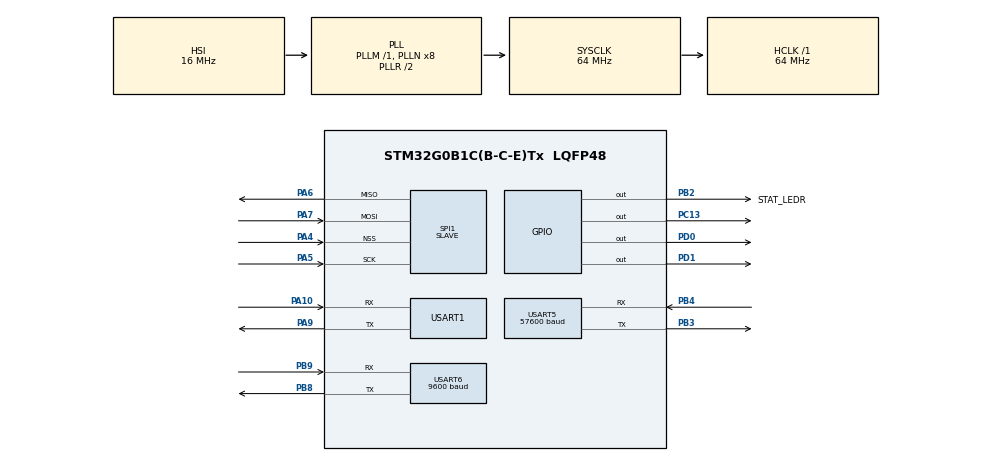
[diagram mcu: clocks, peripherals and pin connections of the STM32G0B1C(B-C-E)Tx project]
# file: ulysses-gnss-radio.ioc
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Dma.Request0=SPI1_TX
Dma.Request1=SPI1_RX
Dma.Request2=USART1_TX
Dma.Request3=USART1_RX
Dma.Request4=USART5_TX
Dma.Request5=USART5_RX
Dma.Request6=USART6_TX
Dma.Request7=USART6_RX
Dma.SPI1_RX.1.Direction=DMA_PERIPH_TO_MEMORY
Dma.SPI1_RX.1.EventEnable=DISABLE
Dma.SPI1_RX.1.Instance=DMA1_Channel2
Dma.SPI1_RX.1.MemDataAlignment=DMA_MDATAALIGN_BYTE
Dma.SPI1_RX.1.MemInc=DMA_MINC_ENABLE
Dma.SPI1_RX.1.Mode=DMA_NORMAL
Dma.SPI1_RX.1.PeriphDataAlignment=DMA_PDATAALIGN_BYTE
Dma.SPI1_RX.1.PeriphInc=DMA_PINC_DISABLE
Dma.SPI1_RX.1.Polarity=HAL_DMAMUX_REQ_GEN_RISING
Dma.SPI1_RX.1.Priority=DMA_PRIORITY_LOW
Dma.SPI1_RX.1.RequestNumber=1
Dma.SPI1_RX.1.SignalID=NONE
Dma.SPI1_RX.1.SyncEnable=DISABLE
Dma.SPI1_RX.1.SyncPolarity=HAL_DMAMUX_SYNC_NO_EVENT
Dma.SPI1_RX.1.SyncRequestNumber=1
Dma.SPI1_RX.1.SyncSignalID=NONE
Dma.SPI1_TX.0.Direction=DMA_MEMORY_TO_PERIPH
Dma.SPI1_TX.0.EventEnable=DISABLE
Dma.SPI1_TX.0.Instance=DMA1_Channel1
Dma.SPI1_TX.0.MemDataAlignment=DMA_MDATAALIGN_BYTE
Dma.SPI1_TX.0.MemInc=DMA_MINC_ENABLE
Dma.SPI1_TX.0.Mode=DMA_NORMAL
Dma.SPI1_TX.0.PeriphDataAlignment=DMA_PDATAALIGN_BYTE
Dma.SPI1_TX.0.PeriphInc=DMA_PINC_DISABLE
Dma.SPI1_TX.0.Polarity=HAL_DMAMUX_REQ_GEN_RISING
Dma.SPI1_TX.0.Priority=DMA_PRIORITY_LOW
Dma.SPI1_TX.0.RequestNumber=1
Dma.SPI1_TX.0.SignalID=NONE
Dma.SPI1_TX.0.SyncEnable=DISABLE
Dma.SPI1_TX.0.SyncPolarity=HAL_DMAMUX_SYNC_NO_EVENT
Dma.SPI1_TX.0.SyncRequestNumber=1
Dma.SPI1_TX.0.SyncSignalID=NONE
Dma.USART1_RX.3.Direction=DMA_PERIPH_TO_MEMORY
Dma.USART1_RX.3.EventEnable=DISABLE
Dma.USART1_RX.3.Instance=DMA1_Channel4
Dma.USART1_RX.3.MemDataAlignment=DMA_MDATAALIGN_BYTE
Dma.USART1_RX.3.MemInc=DMA_MINC_ENABLE
Dma.USART1_RX.3.Mode=DMA_CIRCULAR
Dma.USART1_RX.3.PeriphDataAlignment=DMA_PDATAALIGN_BYTE
Dma.USART1_RX.3.PeriphInc=DMA_PINC_DISABLE
Dma.USART1_RX.3.Polarity=HAL_DMAMUX_REQ_GEN_RISING
Dma.USART1_RX.3.Priority=DMA_PRIORITY_LOW
Dma.USART1_RX.3.RequestNumber=1
Dma.USART1_RX.3.SignalID=NONE
Dma.USART1_RX.3.SyncEnable=DISABLE
Dma.USART1_RX.3.SyncPolarity=HAL_DMAMUX_SYNC_NO_EVENT
Dma.USART1_RX.3.SyncRequestNumber=1
Dma.USART1_RX.3.SyncSignalID=NONE
Dma.USART1_TX.2.Direction=DMA_MEMORY_TO_PERIPH
Dma.USART1_TX.2.EventEnable=DISABLE
Dma.USART1_TX.2.Instance=DMA1_Channel3
Dma.USART1_TX.2.MemDataAlignment=DMA_MDATAALIGN_BYTE
Dma.USART1_TX.2.MemInc=DMA_MINC_ENABLE
Dma.USART1_TX.2.Mode=DMA_NORMAL
Dma.USART1_TX.2.PeriphDataAlignment=DMA_PDATAALIGN_BYTE
Dma.USART1_TX.2.PeriphInc=DMA_PINC_DISABLE
Dma.USART1_TX.2.Polarity=HAL_DMAMUX_REQ_GEN_RISING
Dma.USART1_TX.2.Priority=DMA_PRIORITY_LOW
Dma.USART1_TX.2.RequestNumber=1
Dma.USART1_TX.2.SignalID=NONE
Dma.USART1_TX.2.SyncEnable=DISABLE
Dma.USART1_TX.2.SyncPolarity=HAL_DMAMUX_SYNC_NO_EVENT
Dma.USART1_TX.2.SyncRequestNumber=1
Dma.USART1_TX.2.SyncSignalID=NONE
Dma.USART5_RX.5.Direction=DMA_PERIPH_TO_MEMORY
Dma.USART5_RX.5.EventEnable=DISABLE
Dma.USART5_RX.5.Instance=DMA1_Channel6
Dma.USART5_RX.5.MemDataAlignment=DMA_MDATAALIGN_BYTE
Dma.USART5_RX.5.MemInc=DMA_MINC_ENABLE
Dma.USART5_RX.5.Mode=DMA_CIRCULAR
Dma.USART5_RX.5.PeriphDataAlignment=DMA_PDATAALIGN_BYTE
Dma.USART5_RX.5.PeriphInc=DMA_PINC_DISABLE
Dma.USART5_RX.5.Polarity=HAL_DMAMUX_REQ_GEN_RISING
Dma.USART5_RX.5.Priority=DMA_PRIORITY_LOW
Dma.USART5_RX.5.RequestNumber=1
Dma.USART5_RX.5.SignalID=NONE
Dma.USART5_RX.5.SyncEnable=DISABLE
Dma.USART5_RX.5.SyncPolarity=HAL_DMAMUX_SYNC_NO_EVENT
Dma.USART5_RX.5.SyncRequestNumber=1
Dma.USART5_RX.5.SyncSignalID=NONE
Dma.USART5_TX.4.Direction=DMA_MEMORY_TO_PERIPH
Dma.USART5_TX.4.EventEnable=DISABLE
Dma.USART5_TX.4.Instance=DMA1_Channel5
Dma.USART5_TX.4.MemDataAlignment=DMA_MDATAALIGN_BYTE
Dma.USART5_TX.4.MemInc=DMA_MINC_ENABLE
Dma.USART5_TX.4.Mode=DMA_NORMAL
Dma.USART5_TX.4.PeriphDataAlignment=DMA_PDATAALIGN_BYTE
Dma.USART5_TX.4.PeriphInc=DMA_PINC_DISABLE
Dma.USART5_TX.4.Polarity=HAL_DMAMUX_REQ_GEN_RISING
Dma.USART5_TX.4.Priority=DMA_PRIORITY_LOW
Dma.USART5_TX.4.RequestNumber=1
Dma.USART5_TX.4.SignalID=NONE
Dma.USART5_TX.4.SyncEnable=DISABLE
Dma.USART5_TX.4.SyncPolarity=HAL_DMAMUX_SYNC_NO_EVENT
Dma.USART5_TX.4.SyncRequestNumber=1
Dma.USART5_TX.4.SyncSignalID=NONE
Dma.USART6_RX.7.Direction=DMA_PERIPH_TO_MEMORY
Dma.USART6_RX.7.EventEnable=DISABLE
Dma.USART6_RX.7.Instance=DMA2_Channel1
Dma.USART6_RX.7.MemDataAlignment=DMA_MDATAALIGN_BYTE
Dma.USART6_RX.7.MemInc=DMA_MINC_ENABLE
Dma.USART6_RX.7.Mode=DMA_CIRCULAR
Dma.USART6_RX.7.PeriphDataAlignment=DMA_PDATAALIGN_BYTE
Dma.USART6_RX.7.PeriphInc=DMA_PINC_DISABLE
Dma.USART6_RX.7.Polarity=HAL_DMAMUX_REQ_GEN_RISING
Dma.USART6_RX.7.Priority=DMA_PRIORITY_LOW
Dma.USART6_RX.7.RequestNumber=1
Dma.USART6_RX.7.SignalID=NONE
Dma.USART6_RX.7.SyncEnable=DISABLE
Dma.USART6_RX.7.SyncPolarity=HAL_DMAMUX_SYNC_NO_EVENT
Dma.USART6_RX.7.SyncRequestNumber=1
Dma.USART6_RX.7.SyncSignalID=NONE
Dma.USART6_TX.6.Direction=DMA_MEMORY_TO_PERIPH
Dma.USART6_TX.6.EventEnable=DISABLE
Dma.USART6_TX.6.Instance=DMA1_Channel7
Dma.USART6_TX.6.MemDataAlignment=DMA_MDATAALIGN_BYTE
Dma.USART6_TX.6.MemInc=DMA_MINC_ENABLE
Dma.USART6_TX.6.Mode=DMA_NORMAL
Dma.USART6_TX.6.PeriphDataAlignment=DMA_PDATAALIGN_BYTE
Dma.USART6_TX.6.PeriphInc=DMA_PINC_DISABLE
Dma.USART6_TX.6.Polarity=HAL_DMAMUX_REQ_GEN_RISING
Dma.USART6_TX.6.Priority=DMA_PRIORITY_LOW
Dma.USART6_TX.6.RequestNumber=1
Dma.USART6_TX.6.SignalID=NONE
Dma.USART6_TX.6.SyncEnable=DISABLE
Dma.USART6_TX.6.SyncPolarity=HAL_DMAMUX_SYNC_NO_EVENT
Dma.USART6_TX.6.SyncRequestNumber=1
Dma.USART6_TX.6.SyncSignalID=NONE
Mcu.Family=STM32G0
Mcu.Name=STM32G0B1C(B-C-E)Tx
Mcu.Package=LQFP48
NVIC.DMA1_Ch4_7_DMA2_Ch1_5_DMAMUX1_OVR_IRQn=true\:0\:0\:false\:false\:true\:false\:true\:true
NVIC.DMA1_Channel1_IRQn=true\:0\:0\:false\:false\:true\:false\:true\:true
NVIC.DMA1_Channel2_3_IRQn=true\:0\:0\:false\:false\:true\:false\:true\:true
NVIC.USART1_IRQn=true\:2\:0\:false\:false\:true\:true\:true\:true
NVIC.USART3_4_5_6_LPUART1_IRQn=true\:2\:0\:false\:false\:true\:true\:true\:true
PA0.Mode=SYS_WakeUp0
PA0.Signal=SYS_WKUP1
PA10.Mode=Asynchronous
PA10.Signal=USART1_RX
PA4.Mode=NSS_Signal_Hard_Input
PA4.Signal=SPI1_NSS
PA5.Mode=Full_Duplex_Slave
PA5.Signal=SPI1_SCK
PA6.Mode=Full_Duplex_Slave
PA6.Signal=SPI1_MISO
PA7.Mode=Full_Duplex_Slave
PA7.Signal=SPI1_MOSI
PA9.Mode=Asynchronous
PA9.Signal=USART1_TX
PB2.GPIO_Label=STAT_LEDR
PB2.Signal=GPIO_Output
PB3.GPIO_PuPd=GPIO_PULLUP
PB3.Mode=Asynchronous
PB3.Signal=USART5_TX
PB4.GPIO_PuPd=GPIO_PULLUP
PB4.Mode=Asynchronous
PB4.Signal=USART5_RX
PB8.Mode=Asynchronous
PB8.Signal=USART6_TX
PB9.Mode=Asynchronous
PB9.Signal=USART6_RX
PC13.Signal=GPIO_Output
PD0.Signal=GPIO_Output
PD1.Signal=GPIO_Output
ProjectManager.HeapSize=0x200
ProjectManager.StackSize=0x400
ProjectManager.TargetToolchain=CMake
RCC.ADCFreq_Value=64000000
RCC.AHBFreq_Value=64000000
RCC.CortexFreq_Value=64000000
RCC.EXTERNAL_CLOCK_VALUE=48000
RCC.HCLKFreq_Value=64000000
RCC.HSE_VALUE=8000000
RCC.HSI48_VALUE=48000000
RCC.HSI_VALUE=16000000
RCC.LSE_VALUE=32768
RCC.SYSCLKFreq_VALUE=64000000
RCC.SYSCLKSource=RCC_SYSCLKSOURCE_PLLCLK
RCC.USBFreq_Value=48000000
RCC.VCOOutputFreq_Value=128000000
SPI1.DataSize=SPI_DATASIZE_8BIT
SPI1.Direction=SPI_DIRECTION_2LINES
SPI1.Mode=SPI_MODE_SLAVE
SPI1.VirtualNSS=VM_NSSHARD
SPI1.VirtualType=VM_SLAVE
USART1.VirtualMode-Asynchronous=VM_ASYNC
USART5.BaudRate=57600
USART5.VirtualMode-Asynchronous=VM_ASYNC
USART6.BaudRate=9600
USART6.VirtualMode-Asynchronous=VM_ASYNC
VP_SYS_VS_DBSignals.Mode=DisableDeadBatterySignals
board=custom

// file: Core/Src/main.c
/* USER CODE BEGIN Header */
/**
  ******************************************************************************
  * @file           : main.c
  * @brief          : Main program body
  ******************************************************************************
  */
/* USER CODE END Header */
#include "main.h"

/* USER CODE BEGIN Includes */
#include <string.h>
#include "radio_queue.h"
#include "gps_nema_queue.h"
#include "spi_slave.h"
#include "radio_driver.h"
#include "gps.h"
#include "uart_callbacks.h"
#ifdef DEBUG
#include "debug_uart.h"
#endif
/* USER CODE END Includes */

SPI_HandleTypeDef hspi1;
DMA_HandleTypeDef hdma_spi1_tx;
DMA_HandleTypeDef hdma_spi1_rx;

UART_HandleTypeDef huart1;
UART_HandleTypeDef huart5;
UART_HandleTypeDef huart6;
DMA_HandleTypeDef hdma_usart1_tx;
DMA_HandleTypeDef hdma_usart1_rx;
DMA_HandleTypeDef hdma_usart5_tx;
DMA_HandleTypeDef hdma_usart5_rx;
DMA_HandleTypeDef hdma_usart6_tx;
DMA_HandleTypeDef hdma_usart6_rx;

/* USER CODE BEGIN PV */
static radio_message_queue_t radio_rx_queue;
static radio_message_queue_t radio_tx_queue;
static gps_sample_queue_t gps_sample_queue;
/* USER CODE END PV */

void SystemClock_Config(void);
static void MX_GPIO_Init(void);
static void MX_DMA_Init(void);
static void MX_SPI1_Init(void);
static void MX_USART1_UART_Init(void);
static void MX_USART5_UART_Init(void);
static void MX_USART6_UART_Init(void);

int main(void)
{

  /* MCU Configuration--------------------------------------------------------*/

  /* Reset of all peripherals, Initializes the Flash interface and the Systick. */
  HAL_Init();

  /* Configure the system clock */
  SystemClock_Config();

  /* Initialize all configured peripherals */
  MX_GPIO_Init();
  MX_DMA_Init();
  MX_SPI1_Init();
  MX_USART1_UART_Init();
  MX_USART5_UART_Init();
  MX_USART6_UART_Init();
  /* USER CODE BEGIN 2 */

  // Release GPS from reset BEFORE starting UART reception.
  // GPS TX line is LOW/floating while module is in reset, which causes
  // continuous UART framing errors that corrupt the DMA state machine.
  HAL_GPIO_WritePin(GPIOD, GPIO_PIN_0, GPIO_PIN_SET);
  HAL_Delay(10);  // Let GPS TX line stabilize to idle HIGH

  // Initialize GPS queue (for raw NMEA)
  gps_sample_queue_init(&gps_sample_queue);

  // Initialize GPS driver with shared queue
  gps_set_queue(&gps_sample_queue);
  gps_init(&huart6, &huart1);  // GPS on UART6, debug output on UART1

  // Initialize radio driver (handles its own queue initialization)
  radio_init(&radio_rx_queue);

  // Initialize radio TX queue (SPI master → radio UART5)
  radio_message_queue_init(&radio_tx_queue);
  // Start USART1 DMA reception + Character Match on '\n'
#ifdef DEBUG
  // Initialize debug UART system (injection + logging)
  uart_callbacks_init(&huart1);
  debug_uart_init(&radio_rx_queue, &gps_sample_queue);
  HAL_UART_Transmit(&huart1, (uint8_t*)"System initialized - awaiting configuration from master\r\n", 57, 100);
#endif

  // Wait for configuration frame from master (blocking)
  config_frame_t config_frame;
  //HAL_StatusTypeDef status = HAL_SPI_Receive(&hspi1, (uint8_t*)&config_frame, sizeof(config_frame_t), HAL_MAX_DELAY);
  HAL_StatusTypeDef status = HAL_OK;
  config_frame.mode = SPI_MODE_PULL;
  if (status == HAL_OK) {
      // Parse and validate the mode
      spi_protocol_mode_t mode;
      if (config_frame.mode == SPI_MODE_PULL) {
          mode = SPI_MODE_PULL;
      } else if (config_frame.mode == SPI_MODE_PUSH) {
          mode = SPI_MODE_PUSH;
      } else {
          // Invalid mode - default to PULL (safe fallback)
          mode = SPI_MODE_PULL;
      }

      // Set protocol mode for SPI slave and GPS
      spi_slave_set_protocol_mode(mode);
      gps_set_protocol_mode(mode);

#ifdef DEBUG
      const char* mode_str = (mode == SPI_MODE_PUSH) ? "PUSH" : "PULL";
      HAL_UART_Transmit(&huart1, (uint8_t*)"Configuration received - Mode: ", 31, 100);
      HAL_UART_Transmit(&huart1, (uint8_t*)mode_str, strlen(mode_str), 100);
      HAL_UART_Transmit(&huart1, (uint8_t*)"\r\n", 2, 100);
#endif
  } else {
#ifdef DEBUG
      HAL_UART_Transmit(&huart1, (uint8_t*)"ERROR: Failed to receive configuration frame\r\n", 46, 100);
#endif
  }

  // Initialize SPI slave (uses radio RX, radio TX, and GPS queues)
  spi_slave_init(&radio_rx_queue, &radio_tx_queue, &gps_sample_queue);

#ifdef DEBUG
  // One-shot SPI state dump after initialization
  {
      const spi_debug_capture_t *spi_dbg = spi_slave_get_debug_capture();
      debug_uart_log_spi_arm(spi_dbg);
  }
#endif

  /* USER CODE END 2 */

  /* Infinite loop */
  /* USER CODE BEGIN WHILE */

  HAL_GPIO_WritePin(GPIOD, GPIO_PIN_1, GPIO_PIN_SET);
  while (1)
  {
    /* USER CODE END WHILE */

    /* USER CODE BEGIN 3 */

      // Process GPS UART data (builds NMEA sentences from ring buffer)
      gps_process();

      // Push mode tick - check for pending data and assert IRQ if needed
      spi_slave_tick();

      // Expire a stalled partial radio message before it can fuse with the
      // next genuine frame
      radio_rx_idle_check();

      if (radio_at_session_active()) {
          // AT passthrough: UART5 is a raw byte pipe to the modem for the
          // duration. Normal radio TX stays parked -- radio_send() appends a
          // 0x00 terminator, and any byte on the line breaks the silence
          // window "+++" depends on.
          radio_at_poll();   // drain modem replies into the raw RX ring
          radio_at_flush();  // emit AT bytes staged by the SPI master
      } else if (!radio_message_queue_empty(&radio_tx_queue)) {
          // Transmit radio messages from SPI master over UART5
          uint8_t tx_msg[RADIO_MESSAGE_MAX_LEN];
          radio_message_dequeue(&radio_tx_queue, tx_msg);

          // Find actual message length (null-padded to 256)
          uint8_t tx_len = 0;
          while (tx_len < RADIO_MESSAGE_MAX_LEN && tx_msg[tx_len] != 0) {
              tx_len++;
          }

          if (tx_len > 0) {
              radio_send(tx_msg, tx_len);
          }
      }

#ifdef DEBUG
      // Log SPI transaction debug data when new transaction detected
      {
          static uint32_t last_spi_exti = 0;
          const spi_debug_capture_t *spi_dbg = spi_slave_get_debug_capture();
          if (spi_dbg->exti_count != last_spi_exti) {
              last_spi_exti = spi_dbg->exti_count;
              debug_uart_log_spi_txn(spi_dbg);
          }
      }

      // Process and transmit pending debug log messages
      debug_uart_process_logs();
#endif

      HAL_Delay(1);  // Reduced delay for faster push response
  }
  /* USER CODE END 3 */
}

void SystemClock_Config(void)
{
  RCC_OscInitTypeDef RCC_OscInitStruct = {0};
  RCC_ClkInitTypeDef RCC_ClkInitStruct = {0};

  /** Configure the main internal regulator output voltage
  */
  HAL_PWREx_ControlVoltageScaling(PWR_REGULATOR_VOLTAGE_SCALE1);

  /** Initializes the RCC Oscillators according to the specified parameters
  * in the RCC_OscInitTypeDef structure.
  */
  RCC_OscInitStruct.OscillatorType = RCC_OSCILLATORTYPE_HSI;
  RCC_OscInitStruct.HSIState = RCC_HSI_ON;
  RCC_OscInitStruct.HSIDiv = RCC_HSI_DIV1;
  RCC_OscInitStruct.HSICalibrationValue = RCC_HSICALIBRATION_DEFAULT;
  RCC_OscInitStruct.PLL.PLLState = RCC_PLL_ON;
  RCC_OscInitStruct.PLL.PLLSource = RCC_PLLSOURCE_HSI;
  RCC_OscInitStruct.PLL.PLLM = RCC_PLLM_DIV1;
  RCC_OscInitStruct.PLL.PLLN = 8;
  RCC_OscInitStruct.PLL.PLLP = RCC_PLLP_DIV2;
  RCC_OscInitStruct.PLL.PLLQ = RCC_PLLQ_DIV2;
  RCC_OscInitStruct.PLL.PLLR = RCC_PLLR_DIV2;
  if (HAL_RCC_OscConfig(&RCC_OscInitStruct) != HAL_OK)
  {
    Error_Handler();
  }

  /** Initializes the CPU, AHB and APB buses clocks
  */
  RCC_ClkInitStruct.ClockType = RCC_CLOCKTYPE_HCLK|RCC_CLOCKTYPE_SYSCLK
                              |RCC_CLOCKTYPE_PCLK1;
  RCC_ClkInitStruct.SYSCLKSource = RCC_SYSCLKSOURCE_PLLCLK;
  RCC_ClkInitStruct.AHBCLKDivider = RCC_SYSCLK_DIV1;
  RCC_ClkInitStruct.APB1CLKDivider = RCC_HCLK_DIV1;

  if (HAL_RCC_ClockConfig(&RCC_ClkInitStruct, FLASH_LATENCY_2) != HAL_OK)
  {
    Error_Handler();
  }
}

static void MX_SPI1_Init(void)
{

  /* SPI1 parameter configuration*/
  hspi1.Instance = SPI1;
  hspi1.Init.Mode = SPI_MODE_SLAVE;
  hspi1.Init.Direction = SPI_DIRECTION_2LINES;
  hspi1.Init.DataSize = SPI_DATASIZE_8BIT;
  hspi1.Init.CLKPolarity = SPI_POLARITY_LOW;
  hspi1.Init.CLKPhase = SPI_PHASE_1EDGE;
  hspi1.Init.NSS = SPI_NSS_HARD_INPUT;
  hspi1.Init.FirstBit = SPI_FIRSTBIT_MSB;
  hspi1.Init.TIMode = SPI_TIMODE_DISABLE;
  hspi1.Init.CRCCalculation = SPI_CRCCALCULATION_DISABLE;
  hspi1.Init.CRCPolynomial = 7;
  hspi1.Init.CRCLength = SPI_CRC_LENGTH_DATASIZE;
  hspi1.Init.NSSPMode = SPI_NSS_PULSE_DISABLE;
  if (HAL_SPI_Init(&hspi1) != HAL_OK)
  {
    Error_Handler();
  }

}

static void MX_USART1_UART_Init(void)
{

  huart1.Instance = USART1;
  huart1.Init.BaudRate = 115200;
  huart1.Init.WordLength = UART_WORDLENGTH_8B;
  huart1.Init.StopBits = UART_STOPBITS_1;
  huart1.Init.Parity = UART_PARITY_NONE;
  huart1.Init.Mode = UART_MODE_TX_RX;
  huart1.Init.HwFlowCtl = UART_HWCONTROL_NONE;
  huart1.Init.OverSampling = UART_OVERSAMPLING_16;
  huart1.Init.OneBitSampling = UART_ONE_BIT_SAMPLE_DISABLE;
  huart1.Init.ClockPrescaler = UART_PRESCALER_DIV1;
  huart1.AdvancedInit.AdvFeatureInit = UART_ADVFEATURE_NO_INIT;
  if (HAL_UART_Init(&huart1) != HAL_OK)
  {
    Error_Handler();
  }
  if (HAL_UARTEx_SetTxFifoThreshold(&huart1, UART_TXFIFO_THRESHOLD_1_8) != HAL_OK)
  {
    Error_Handler();
  }
  if (HAL_UARTEx_SetRxFifoThreshold(&huart1, UART_RXFIFO_THRESHOLD_1_8) != HAL_OK)
  {
    Error_Handler();
  }
  if (HAL_UARTEx_DisableFifoMode(&huart1) != HAL_OK)
  {
    Error_Handler();
  }

}

static void MX_USART5_UART_Init(void)
{

  huart5.Instance = USART5;
  huart5.Init.BaudRate = 57600;
  huart5.Init.WordLength = UART_WORDLENGTH_8B;
  huart5.Init.StopBits = UART_STOPBITS_1;
  huart5.Init.Parity = UART_PARITY_NONE;
  huart5.Init.Mode = UART_MODE_TX_RX;
  huart5.Init.HwFlowCtl = UART_HWCONTROL_NONE;
  huart5.Init.OverSampling = UART_OVERSAMPLING_16;
  huart5.Init.OneBitSampling = UART_ONE_BIT_SAMPLE_DISABLE;
  huart5.Init.ClockPrescaler = UART_PRESCALER_DIV1;
  huart5.AdvancedInit.AdvFeatureInit = UART_ADVFEATURE_NO_INIT;
  if (HAL_UART_Init(&huart5) != HAL_OK)
  {
    Error_Handler();
  }

}

static void MX_USART6_UART_Init(void)
{

  huart6.Instance = USART6;
  huart6.Init.BaudRate = 9600;
  huart6.Init.WordLength = UART_WORDLENGTH_8B;
  huart6.Init.StopBits = UART_STOPBITS_1;
  huart6.Init.Parity = UART_PARITY_NONE;
  huart6.Init.Mode = UART_MODE_TX_RX;
  huart6.Init.HwFlowCtl = UART_HWCONTROL_NONE;
  huart6.Init.OverSampling = UART_OVERSAMPLING_16;
  huart6.Init.OneBitSampling = UART_ONE_BIT_SAMPLE_DISABLE;
  huart6.Init.ClockPrescaler = UART_PRESCALER_DIV1;
  huart6.AdvancedInit.AdvFeatureInit = UART_ADVFEATURE_NO_INIT;
  if (HAL_UART_Init(&huart6) != HAL_OK)
  {
    Error_Handler();
  }

}

static void MX_DMA_Init(void)
{

  /* DMA controller clock enable */
  __HAL_RCC_DMA1_CLK_ENABLE();
  __HAL_RCC_DMA2_CLK_ENABLE();

  /* DMA interrupt init */
  /* DMA1_Channel1_IRQn interrupt configuration */
  HAL_NVIC_SetPriority(DMA1_Channel1_IRQn, 0, 0);
  HAL_NVIC_EnableIRQ(DMA1_Channel1_IRQn);
  /* DMA1_Channel2_3_IRQn interrupt configuration */
  HAL_NVIC_SetPriority(DMA1_Channel2_3_IRQn, 0, 0);
  HAL_NVIC_EnableIRQ(DMA1_Channel2_3_IRQn);
  /* DMA1_Ch4_7_DMA2_Ch1_5_DMAMUX1_OVR_IRQn interrupt configuration */
  HAL_NVIC_SetPriority(DMA1_Ch4_7_DMA2_Ch1_5_DMAMUX1_OVR_IRQn, 0, 0);
  HAL_NVIC_EnableIRQ(DMA1_Ch4_7_DMA2_Ch1_5_DMAMUX1_OVR_IRQn);

}

static void MX_GPIO_Init(void)
{
  GPIO_InitTypeDef GPIO_InitStruct = {0};

  /* GPIO Ports Clock Enable */
  __HAL_RCC_GPIOC_CLK_ENABLE();
  __HAL_RCC_GPIOA_CLK_ENABLE();
  __HAL_RCC_GPIOB_CLK_ENABLE();
  __HAL_RCC_GPIOD_CLK_ENABLE();

  /*Configure GPIO pin Output Level */
  HAL_GPIO_WritePin(GPIOC, GPIO_PIN_13, GPIO_PIN_RESET);

  /*Configure GPIO pin Output Level */
  HAL_GPIO_WritePin(STAT_LEDR_GPIO_Port, STAT_LEDR_Pin, GPIO_PIN_RESET);

  /*Configure GPIO pin Output Level */
  HAL_GPIO_WritePin(GPIOD, GPIO_PIN_0|GPIO_PIN_1, GPIO_PIN_RESET);

  /*Configure GPIO pin : PC13 */
  GPIO_InitStruct.Pin = GPIO_PIN_13;
  GPIO_InitStruct.Mode = GPIO_MODE_OUTPUT_PP;
  GPIO_InitStruct.Pull = GPIO_NOPULL;
  GPIO_InitStruct.Speed = GPIO_SPEED_FREQ_LOW;
  HAL_GPIO_Init(GPIOC, &GPIO_InitStruct);

  /*Configure GPIO pin : STAT_LEDR_Pin */
  GPIO_InitStruct.Pin = STAT_LEDR_Pin;
  GPIO_InitStruct.Mode = GPIO_MODE_OUTPUT_PP;
  GPIO_InitStruct.Pull = GPIO_NOPULL;
  GPIO_InitStruct.Speed = GPIO_SPEED_FREQ_LOW;
  HAL_GPIO_Init(STAT_LEDR_GPIO_Port, &GPIO_InitStruct);

  /*Configure GPIO pins : PD0 PD1 */
  GPIO_InitStruct.Pin = GPIO_PIN_0|GPIO_PIN_1;
  GPIO_InitStruct.Mode = GPIO_MODE_OUTPUT_PP;
  GPIO_InitStruct.Pull = GPIO_NOPULL;
  GPIO_InitStruct.Speed = GPIO_SPEED_FREQ_LOW;
  HAL_GPIO_Init(GPIOD, &GPIO_InitStruct);

}

void Error_Handler(void)
{
  __disable_irq();
  while (1)
  {
  }
}
